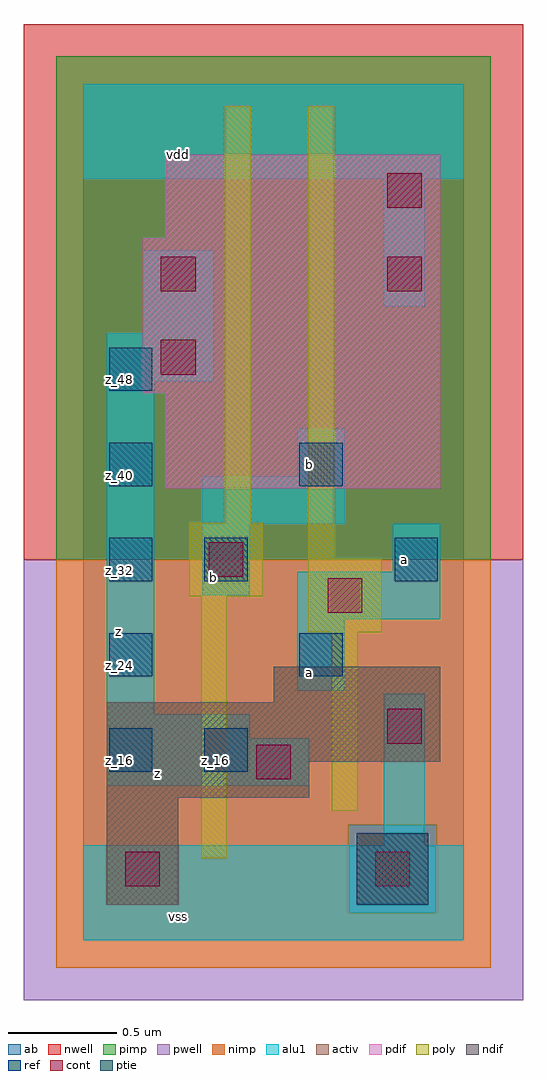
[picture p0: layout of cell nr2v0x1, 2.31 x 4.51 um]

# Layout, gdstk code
import gdstk
lib = gdstk.Library(unit=1e-6, precision=2.5e-09)
def R(c, l, rs):  # rectangles x0, y0, x1, y1
    for r in rs: c.add(gdstk.rectangle(r[:2], r[2:], *l))
def A(c, l, x, y, w, h, nx, ny, dx, dy):  # array of equal rectangles
    R(c, l, [(x+i*dx, y+j*dy, x+i*dx+w, y+j*dy+h) for i in range(nx) for j in range(ny)])
ndif = (3, 0)
pdif = (4, 0)
ptie = (6, 0)
ref = (24, 0)
cont = (25, 0)
pwell = (41, 0)
nwell = (42, 0)
activ = (43, 0)
pimp = (44, 0)
nimp = (45, 0)
poly = (46, 0)
alu1 = (49, 0)
ab = (63, 0)

nr2v0x1 = lib.new_cell('nr2v0x1')
R(nr2v0x1, ndif, [(0.11,0.165,0.44,0.66), (0.11,0.66,1.045,0.825), (0.11,0.825,1.65,1.1), (0.88,1.1,1.65,1.265)])
R(nr2v0x1, pdif, [(0.385,2.09,1.65,2.53), (0.275,2.53,1.65,3.245), (0.385,3.245,1.65,3.63)])
R(nr2v0x1, ptie, [(1.265,0.165,1.595,0.495)])
A(nr2v0x1, ref, 0.12, 0.78, 0.2, 0.2, 1, 5, 0, 0.44)
R(nr2v0x1, ref, [(0.56,0.78,0.76,0.98), (1,1.22,1.2,1.42), (0.56,1.66,0.76,1.86), (1.44,1.66,1.64,1.86), (1,2.1,1.2,2.3)])
R(nr2v0x1, cont, [(0.195,0.25,0.355,0.41), (1.35,0.25,1.51,0.41), (0.8,0.745,0.96,0.905), (1.405,0.91,1.565,1.07), (1.13,1.515,1.29,1.675), (0.58,1.68,0.74,1.84), (0.36,2.615,0.52,2.775), (0.36,3,0.52,3.16), (1.405,3,1.565,3.16), (1.405,3.385,1.565,3.545)])
R(nr2v0x1, pwell, [(-0.275,-0.275,2.035,1.76)])
R(nr2v0x1, nwell, [(-0.275,1.76,2.035,4.235)])
R(nr2v0x1, activ, [(0.11,0.165,0.44,0.66), (1.265,0.165,1.595,0.495), (0.11,0.66,1.045,0.825), (0.11,0.825,1.65,1.1), (0.88,1.1,1.65,1.265), (0.385,2.09,1.65,2.53), (0.275,2.53,1.65,3.245), (0.385,3.245,1.65,3.63)])
R(nr2v0x1, pimp, [(1.225,0.125,1.635,0.535), (-0.125,1.76,1.885,4.085)])
R(nr2v0x1, nimp, [(-0.125,-0.125,1.885,0.125), (-0.125,0.125,1.225,0.535), (1.635,0.125,1.885,0.535), (-0.125,0.535,1.885,1.76)])
R(nr2v0x1, poly, [(0.545,0.38,0.665,1.59), (1.15,0.6,1.27,1.425), (1.04,1.425,1.38,1.765), (0.49,1.59,0.83,1.93), (1.04,1.765,1.16,3.855), (0.655,1.93,0.775,3.855)])
R(nr2v0x1, alu1, [(0,0,1.76,0.44), (1.39,0.44,1.58,1.14), (0.11,0.715,1.045,0.935), (0.11,0.935,0.77,1.045), (0.11,1.045,0.33,2.585), (0.99,1.155,1.21,1.485), (0.99,1.485,1.65,1.705), (0.55,1.595,0.77,1.925), (1.43,1.705,1.65,1.925), (0.55,1.925,1.21,2.145), (0.99,2.145,1.21,2.365), (0.11,2.585,0.605,2.805), (0.275,2.805,0.605,3.19), (1.39,2.93,1.58,3.52), (0,3.52,1.76,3.96)])
R(nr2v0x1, ab, [(0,0,1.76,3.96)])
nr2v0x1.add(gdstk.Label('vss', (0.44,0.11), layer=49, texttype=0))
nr2v0x1.add(gdstk.Label('z', (0.3425,0.77), layer=49, texttype=0))
nr2v0x1.add(gdstk.Label('a', (1.045,1.2375), layer=49, texttype=0))
nr2v0x1.add(gdstk.Label('a', (1.485,1.76), layer=49, texttype=0))
nr2v0x1.add(gdstk.Label('b', (0.605,1.6775), layer=49, texttype=0))
nr2v0x1.add(gdstk.Label('b', (1.045,2.2), layer=49, texttype=0))
nr2v0x1.add(gdstk.Label('z', (0.165,1.43), layer=49, texttype=0))
nr2v0x1.add(gdstk.Label('vdd', (0.44,3.63), layer=49, texttype=0))
nr2v0x1.add(gdstk.Label('b_40', (1.05,2.15), layer=24, texttype=0))
nr2v0x1.add(gdstk.Label('a_24', (1.05,1.27), layer=24, texttype=0))
nr2v0x1.add(gdstk.Label('z_16', (0.17,0.83), layer=24, texttype=0))
nr2v0x1.add(gdstk.Label('z_48', (0.17,2.59), layer=24, texttype=0))
nr2v0x1.add(gdstk.Label('z_40', (0.17,2.15), layer=24, texttype=0))
nr2v0x1.add(gdstk.Label('z_32', (0.17,1.71), layer=24, texttype=0))
nr2v0x1.add(gdstk.Label('z_24', (0.17,1.27), layer=24, texttype=0))
nr2v0x1.add(gdstk.Label('a_32', (1.49,1.71), layer=24, texttype=0))
nr2v0x1.add(gdstk.Label('b_32', (0.61,1.71), layer=24, texttype=0))
nr2v0x1.add(gdstk.Label('z_16', (0.61,0.83), layer=24, texttype=0))

lib.write_gds('nr2v0x1.gds')
